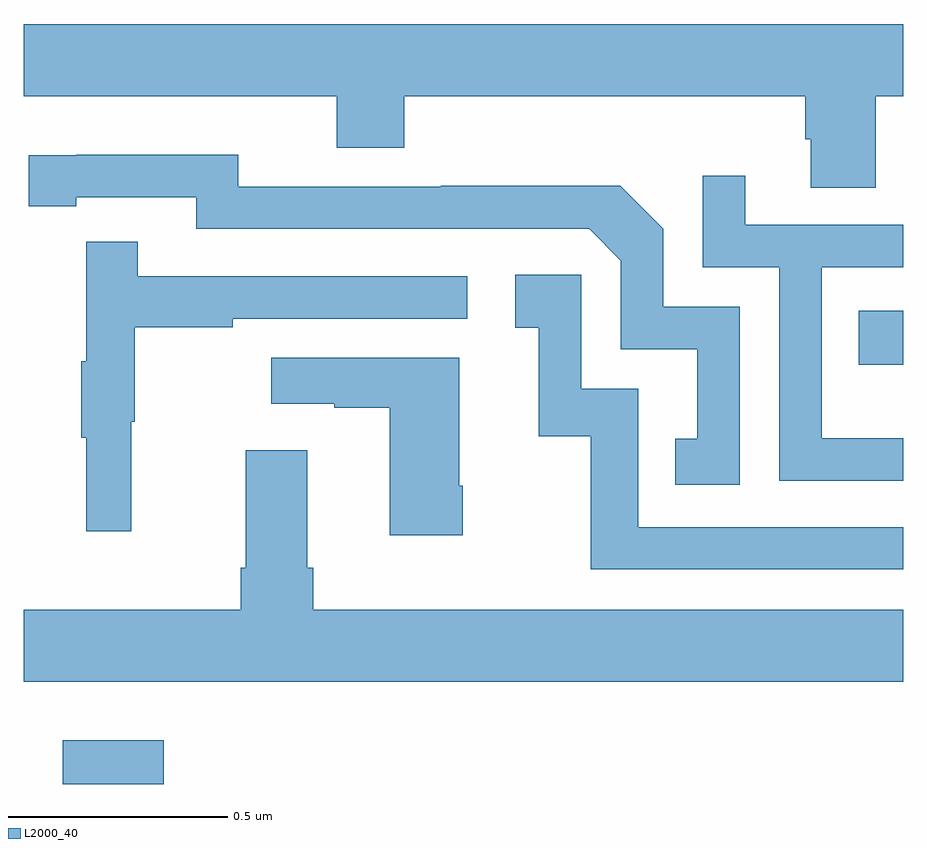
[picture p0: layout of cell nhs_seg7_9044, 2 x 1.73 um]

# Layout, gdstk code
import gdstk
lib = gdstk.Library(unit=1e-6, precision=1e-09)
def R(c, l, rs):  # rectangles x0, y0, x1, y1
    for r in rs: c.add(gdstk.rectangle(r[:2], r[2:], *l))
def P(c, l, *ps):  # polygons
    for p in ps: c.add(gdstk.Polygon(p, *l))
L2000_40 = (2000, 40)

nhs_seg7_9044 = lib.new_cell('nhs_seg7_9044')
R(nhs_seg7_9044, L2000_40, [(232.089,1051,232.319,1051.099), (233.899,1051.953,234,1052.076)])
P(nhs_seg7_9044, L2000_40, [(233.937,1052.564),(234,1052.564),(234,1052.728),(232,1052.728),(232,1052.564),(232.712,1052.564),(232.712,1052.447),(232.865,1052.447),(232.865,1052.564),(233.777,1052.564),(233.777,1052.466),(233.789,1052.466),(233.789,1052.356),(233.937,1052.356)],
  [(233.628,1052.085),(233.454,1052.085),(233.454,1052.262),(233.356,1052.36),(232.948,1052.36),(232.948,1052.358),(232.488,1052.358),(232.488,1052.431),(232.12,1052.431),(232.12,1052.43),(232.012,1052.43),(232.012,1052.314),(232.12,1052.314),(232.12,1052.334),(232.392,1052.334),(232.392,1052.262),(233.286,1052.262),(233.358,1052.19),(233.358,1051.989),(233.531,1051.989),(233.531,1051.785),(233.482,1051.785),(233.482,1051.68),(233.628,1051.68)],
  [(234,1051.786),(233.814,1051.786),(233.814,1052.175),(234,1052.175),(234,1052.271),(233.641,1052.271),(233.641,1052.383),(233.544,1052.383),(233.544,1052.175),(233.718,1052.175),(233.718,1051.689),(234,1051.689)],
  [(232.244,1051.824),(232.252,1051.824),(232.252,1052.038),(232.475,1052.038),(232.475,1052.058),(233.008,1052.058),(233.008,1052.154),(232.259,1052.154),(232.259,1052.233),(232.142,1052.233),(232.142,1051.961),(232.131,1051.961),(232.131,1051.787),(232.142,1051.787),(232.142,1051.575),(232.244,1051.575)],
  [(234,1051.584),(233.397,1051.584),(233.397,1051.899),(233.268,1051.899),(233.268,1052.158),(233.118,1052.158),(233.118,1052.037),(233.171,1052.037),(233.171,1051.791),(233.289,1051.791),(233.289,1051.488),(234,1051.488)],
  [(232.998,1051.678),(232.99,1051.678),(232.99,1051.969),(232.563,1051.969),(232.563,1051.865),(232.706,1051.865),(232.706,1051.855),(232.832,1051.855),(232.832,1051.566),(232.998,1051.566)],
  [(234,1051.396),(232.658,1051.396),(232.658,1051.492),(232.645,1051.492),(232.645,1051.759),(232.505,1051.759),(232.505,1051.492),(232.493,1051.492),(232.493,1051.396),(232,1051.396),(232,1051.232),(234,1051.232)])

lib.write_gds('nhs_seg7_9044.gds')
